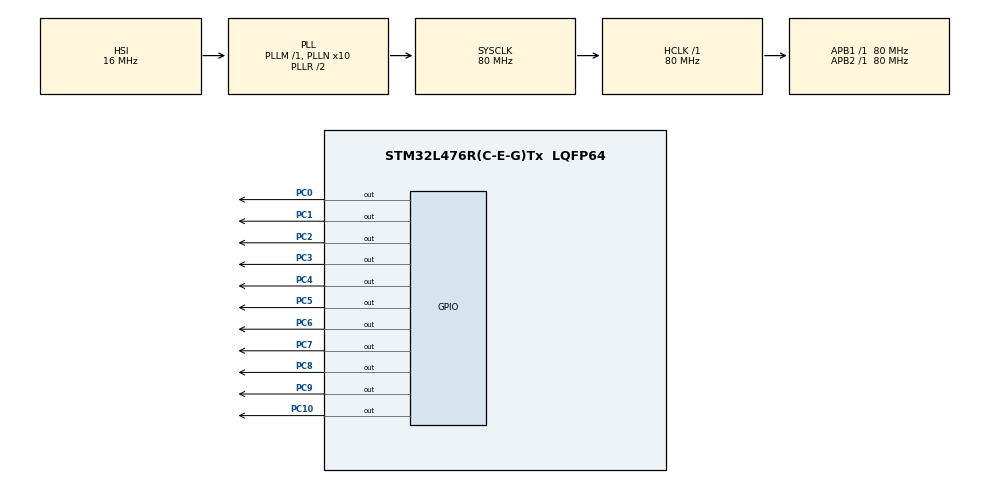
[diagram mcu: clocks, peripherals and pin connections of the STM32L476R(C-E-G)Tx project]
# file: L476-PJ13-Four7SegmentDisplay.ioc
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Mcu.Family=STM32L4
Mcu.Name=STM32L476R(C-E-G)Tx
Mcu.Package=LQFP64
NVIC.PriorityGroup=NVIC_PRIORITYGROUP_4
PC0.Signal=GPIO_Output
PC1.Signal=GPIO_Output
PC10.Signal=GPIO_Output
PC2.Signal=GPIO_Output
PC3.Signal=GPIO_Output
PC4.Signal=GPIO_Output
PC5.Signal=GPIO_Output
PC6.Signal=GPIO_Output
PC7.Signal=GPIO_Output
PC8.Signal=GPIO_Output
PC9.Signal=GPIO_Output
ProjectManager.HeapSize=0x200
ProjectManager.StackSize=0x400
ProjectManager.TargetToolchain=STM32CubeIDE
RCC.ADCFreq_Value=64000000
RCC.AHBFreq_Value=80000000
RCC.APB1Freq_Value=80000000
RCC.APB1TimFreq_Value=80000000
RCC.APB2Freq_Value=80000000
RCC.APB2TimFreq_Value=80000000
RCC.CortexFreq_Value=80000000
RCC.HCLKFreq_Value=80000000
RCC.HSE_VALUE=8000000
RCC.HSI_VALUE=16000000
RCC.MSI_VALUE=4000000
RCC.PLLN=10
RCC.PLLSourceVirtual=RCC_PLLSOURCE_HSI
RCC.PREFETCH_ENABLE=1
RCC.SYSCLKFreq_VALUE=80000000
RCC.SYSCLKSource=RCC_SYSCLKSOURCE_PLLCLK
RCC.USBFreq_Value=64000000
RCC.VCOOutputFreq_Value=160000000
board=NUCLEO-L476RG

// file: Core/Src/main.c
/* USER CODE BEGIN Header */
/**
  ******************************************************************************
  * @file           : main.c
  * @brief          : Main program body
  ******************************************************************************
  * @attention
  *
  * Copyright (c) 2026 STMicroelectronics.
  * All rights reserved.
  *
  * This software is licensed under terms that can be found in the LICENSE file
  * in the root directory of this software component.
  * If no LICENSE file comes with this software, it is provided AS-IS.
  *
  ******************************************************************************
  */
/* USER CODE END Header */
#include "main.h"

/* USER CODE BEGIN Includes */
#define digit1 GPIO_PIN_7
#define digit2 GPIO_PIN_8
#define digit3 GPIO_PIN_9
#define digit4 GPIO_PIN_10
#include <stdint.h>
uint16_t LEDS[]={0x3F,0x06,0x5B,0x4F,0x66,0x6D,0x7D,0x07,0x7F,0x6F};
/* USER CODE END Includes */

void SystemClock_Config(void);
static void MX_GPIO_Init(void);

int main(void)
{

  /* MCU Configuration--------------------------------------------------------*/

  /* Reset of all peripherals, Initializes the Flash interface and the Systick. */
  HAL_Init();

  /* Configure the system clock */
  SystemClock_Config();

  /* Initialize all configured peripherals */
  MX_GPIO_Init();

  /* Infinite loop */
  /* USER CODE BEGIN WHILE */
  int MSD, MID1, MID2, LSD, m, n, Count=1234;
  HAL_GPIO_WritePin(GPIOC, digit1, GPIO_PIN_RESET);
  HAL_GPIO_WritePin(GPIOC, digit2, GPIO_PIN_RESET);
  HAL_GPIO_WritePin(GPIOC, digit3, GPIO_PIN_RESET);
  HAL_GPIO_WritePin(GPIOC, digit4, GPIO_PIN_RESET);
  while (1)
  {
	  MSD=Count/1000;                                       //Get MSD
	  m=Count % 1000;
	  MID2= m/100;                                          //Get MID2
	  n=m%100;
	  MID1=n/10;                                            //Get MID1
	  LSD=n %10;                                            //Get LSD

	  GPIOC -> ODR = LEDS[MSD];
	  HAL_GPIO_WritePin(GPIOC, digit1,GPIO_PIN_SET);
	  HAL_Delay(5);
	  HAL_GPIO_WritePin(GPIOC, digit1, GPIO_PIN_RESET);

	  GPIOC -> ODR = LEDS[MID2];
	  HAL_GPIO_WritePin(GPIOC, digit2,GPIO_PIN_SET);
	  HAL_Delay(5);
	  HAL_GPIO_WritePin(GPIOC, digit2, GPIO_PIN_RESET);

	  GPIOC -> ODR = LEDS[MID1];
	  HAL_GPIO_WritePin(GPIOC, digit3,GPIO_PIN_SET);
	  HAL_Delay(5);
	  HAL_GPIO_WritePin(GPIOC, digit3, GPIO_PIN_RESET);

	  GPIOC -> ODR = LEDS[LSD];
	  HAL_GPIO_WritePin(GPIOC, digit4,GPIO_PIN_SET);
	  HAL_Delay(5);
	  HAL_GPIO_WritePin(GPIOC, digit4, GPIO_PIN_RESET);

    /* USER CODE END WHILE */

  }
}

void SystemClock_Config(void)
{
  RCC_OscInitTypeDef RCC_OscInitStruct = {0};
  RCC_ClkInitTypeDef RCC_ClkInitStruct = {0};

  /** Configure the main internal regulator output voltage
  */
  if (HAL_PWREx_ControlVoltageScaling(PWR_REGULATOR_VOLTAGE_SCALE1) != HAL_OK)
  {
    Error_Handler();
  }

  /** Initializes the RCC Oscillators according to the specified parameters
  * in the RCC_OscInitTypeDef structure.
  */
  RCC_OscInitStruct.OscillatorType = RCC_OSCILLATORTYPE_HSI;
  RCC_OscInitStruct.HSIState = RCC_HSI_ON;
  RCC_OscInitStruct.HSICalibrationValue = RCC_HSICALIBRATION_DEFAULT;
  RCC_OscInitStruct.PLL.PLLState = RCC_PLL_ON;
  RCC_OscInitStruct.PLL.PLLSource = RCC_PLLSOURCE_HSI;
  RCC_OscInitStruct.PLL.PLLM = 1;
  RCC_OscInitStruct.PLL.PLLN = 10;
  RCC_OscInitStruct.PLL.PLLP = RCC_PLLP_DIV7;
  RCC_OscInitStruct.PLL.PLLQ = RCC_PLLQ_DIV2;
  RCC_OscInitStruct.PLL.PLLR = RCC_PLLR_DIV2;
  if (HAL_RCC_OscConfig(&RCC_OscInitStruct) != HAL_OK)
  {
    Error_Handler();
  }

  /** Initializes the CPU, AHB and APB buses clocks
  */
  RCC_ClkInitStruct.ClockType = RCC_CLOCKTYPE_HCLK|RCC_CLOCKTYPE_SYSCLK
                              |RCC_CLOCKTYPE_PCLK1|RCC_CLOCKTYPE_PCLK2;
  RCC_ClkInitStruct.SYSCLKSource = RCC_SYSCLKSOURCE_PLLCLK;
  RCC_ClkInitStruct.AHBCLKDivider = RCC_SYSCLK_DIV1;
  RCC_ClkInitStruct.APB1CLKDivider = RCC_HCLK_DIV1;
  RCC_ClkInitStruct.APB2CLKDivider = RCC_HCLK_DIV1;

  if (HAL_RCC_ClockConfig(&RCC_ClkInitStruct, FLASH_LATENCY_4) != HAL_OK)
  {
    Error_Handler();
  }
}

static void MX_GPIO_Init(void)
{
  GPIO_InitTypeDef GPIO_InitStruct = {0};

  /* GPIO Ports Clock Enable */
  __HAL_RCC_GPIOC_CLK_ENABLE();

  /*Configure GPIO pin Output Level */
  HAL_GPIO_WritePin(GPIOC, GPIO_PIN_0|GPIO_PIN_1|GPIO_PIN_2|GPIO_PIN_3
                          |GPIO_PIN_4|GPIO_PIN_5|GPIO_PIN_6|GPIO_PIN_7
                          |GPIO_PIN_8|GPIO_PIN_9|GPIO_PIN_10, GPIO_PIN_RESET);

  /*Configure GPIO pins : PC0 PC1 PC2 PC3
                           PC4 PC5 PC6 PC7
                           PC8 PC9 PC10 */
  GPIO_InitStruct.Pin = GPIO_PIN_0|GPIO_PIN_1|GPIO_PIN_2|GPIO_PIN_3
                          |GPIO_PIN_4|GPIO_PIN_5|GPIO_PIN_6|GPIO_PIN_7
                          |GPIO_PIN_8|GPIO_PIN_9|GPIO_PIN_10;
  GPIO_InitStruct.Mode = GPIO_MODE_OUTPUT_PP;
  GPIO_InitStruct.Pull = GPIO_NOPULL;
  GPIO_InitStruct.Speed = GPIO_SPEED_FREQ_LOW;
  HAL_GPIO_Init(GPIOC, &GPIO_InitStruct);

}

void Error_Handler(void)
{
  __disable_irq();
  while (1)
  {
  }
}
